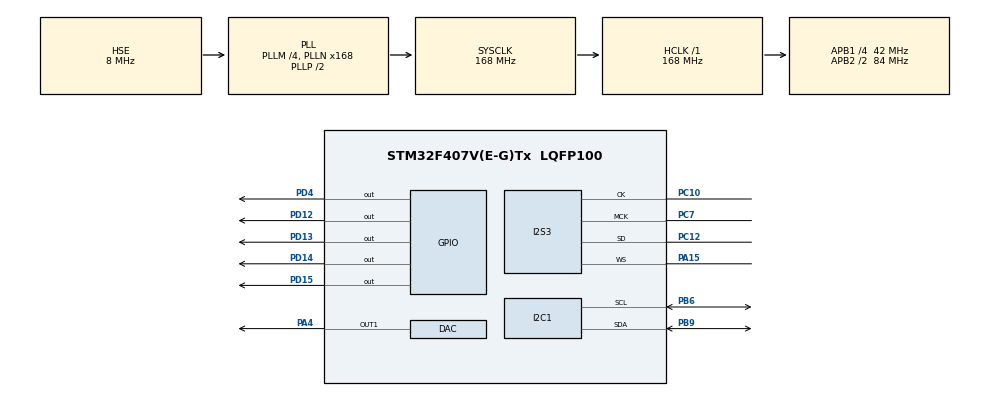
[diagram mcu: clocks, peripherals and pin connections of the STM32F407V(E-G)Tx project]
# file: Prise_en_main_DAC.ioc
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Dma.Request0=SPI3_TX
Dma.SPI3_TX.0.Direction=DMA_MEMORY_TO_PERIPH
Dma.SPI3_TX.0.FIFOMode=DMA_FIFOMODE_ENABLE
Dma.SPI3_TX.0.FIFOThreshold=DMA_FIFO_THRESHOLD_FULL
Dma.SPI3_TX.0.Instance=DMA1_Stream5
Dma.SPI3_TX.0.MemBurst=DMA_MBURST_SINGLE
Dma.SPI3_TX.0.MemDataAlignment=DMA_MDATAALIGN_HALFWORD
Dma.SPI3_TX.0.MemInc=DMA_MINC_ENABLE
Dma.SPI3_TX.0.Mode=DMA_CIRCULAR
Dma.SPI3_TX.0.PeriphBurst=DMA_PBURST_SINGLE
Dma.SPI3_TX.0.PeriphDataAlignment=DMA_PDATAALIGN_HALFWORD
Dma.SPI3_TX.0.PeriphInc=DMA_PINC_DISABLE
Dma.SPI3_TX.0.Priority=DMA_PRIORITY_LOW
I2S3.AudioFreq=I2S_AUDIOFREQ_48K
I2S3.ErrorAudioFreq=1.72 %
I2S3.FullDuplexMode=I2S_FULLDUPLEXMODE_DISABLE
I2S3.Instance=SPI$Index
I2S3.RealAudioFreq=48.828 KHz
I2S3.VirtualMode=I2S_MODE_MASTER
Mcu.Family=STM32F4
Mcu.Name=STM32F407V(E-G)Tx
Mcu.Package=LQFP100
NVIC.DMA1_Stream5_IRQn=true\:0\:0\:false\:false\:true\:false\:true
NVIC.PriorityGroup=NVIC_PRIORITYGROUP_4
NVIC.TIM2_IRQn=true\:0\:0\:false\:false\:true\:true\:true
PA13.Mode=Serial_Wire
PA13.Signal=SYS_JTMS-SWDIO
PA14.Mode=Serial_Wire
PA14.Signal=SYS_JTCK-SWCLK
PA15.Mode=Half_Duplex_Master
PA15.Signal=I2S3_WS
PA4.Signal=COMP_DAC1_group
PB6.Mode=I2C
PB6.Signal=I2C1_SCL
PB9.Mode=I2C
PB9.Signal=I2C1_SDA
PC10.Mode=Half_Duplex_Master
PC10.Signal=I2S3_CK
PC12.Mode=Half_Duplex_Master
PC12.Signal=I2S3_SD
PC7.Mode=Master_Clock_Activated
PC7.Signal=I2S3_MCK
PD12.Signal=GPIO_Output
PD13.Signal=GPIO_Output
PD14.Signal=GPIO_Output
PD15.Signal=GPIO_Output
PD4.Signal=GPIO_Output
PH0-OSC_IN.Mode=HSE-External-Oscillator
PH0-OSC_IN.Signal=RCC_OSC_IN
PH1-OSC_OUT.Mode=HSE-External-Oscillator
PH1-OSC_OUT.Signal=RCC_OSC_OUT
ProjectManager.HeapSize=0x200
ProjectManager.StackSize=0x400
ProjectManager.TargetToolchain=STM32CubeIDE
RCC.48MHZClocksFreq_Value=84000000
RCC.AHBFreq_Value=168000000
RCC.APB1CLKDivider=RCC_HCLK_DIV4
RCC.APB1Freq_Value=42000000
RCC.APB1TimFreq_Value=84000000
RCC.APB2CLKDivider=RCC_HCLK_DIV2
RCC.APB2Freq_Value=84000000
RCC.APB2TimFreq_Value=168000000
RCC.CortexFreq_Value=168000000
RCC.HCLKFreq_Value=168000000
RCC.HSE_VALUE=8000000
RCC.HSI_VALUE=16000000
RCC.LSE_VALUE=32768
RCC.PLLI2SN=50
RCC.PLLM=4
RCC.PLLN=168
RCC.PLLSourceVirtual=RCC_PLLSOURCE_HSE
RCC.SYSCLKFreq_VALUE=168000000
RCC.SYSCLKSource=RCC_SYSCLKSOURCE_PLLCLK
RCC.VCOOutputFreq_Value=336000000
SH.COMP_DAC1_group.0=DAC_OUT1,DAC_OUT1
TIM2.Period=20-1
TIM2.Prescaler=84-1
TIM2.TIM_MasterOutputTrigger=TIM_TRGO_UPDATE
VP_TIM2_VS_ClockSourceINT.Mode=Internal
board=custom

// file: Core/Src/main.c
/* USER CODE BEGIN Header */
/**
 ******************************************************************************
 * @file           : main.c
 * @brief          : Main program body
 ******************************************************************************
 * @attention
 *
 * <h2><center>&copy; Copyright (c) 2020 STMicroelectronics.
 * All rights reserved.</center></h2>
 *
 * This software component is licensed by ST under BSD 3-Clause license,
 * the "License"; You may not use this file except in compliance with the
 * License. You may obtain a copy of the License at:
 *                        opensource.org/licenses/BSD-3-Clause
 *
 ******************************************************************************
 */
/*
 Library:				STM32F4 PX505_FX_Synthe - CS43L22
 Written by:				Tony DOMINGUEZ
 Date Written:			08/11/2020
 Last modified:			08/11/2020
 Description:			This is an STM32 device driver library for the CS43L22 Audio Codec, using STM HAL libraries
 References:
 1) Cirrus Logic CS43L22 datasheet
 https://www.mouser.com/ds/2/76/CS43L22_F2-1142121.pdf
 2) ST opensource CS43L22 Audio Codec dsp drivers.
 3) Sourcing by an internet youtube video
 * Copyright (C) 2020 - T.DOMINGUEZ
 Work in progress
 */
/* USER CODE END Header */
#include "main.h"
#include "My_CS43L22.h"
#include <math.h>

//Synths Functions
#include "Envelope.h"
#include "Oscillator.h"
#include "Operator.h"
#include "Mixer.h"
#include "Note.h"
#include "FM.h"

DAC_HandleTypeDef hdac;

I2C_HandleTypeDef hi2c1;

I2S_HandleTypeDef hi2s3;
DMA_HandleTypeDef hdma_spi3_tx;

TIM_HandleTypeDef htim2;

/* USER CODE BEGIN PV */

#define PI 3.14159f
// Sample rate
#define F_SAMPLE	50000.0f
//Tunig frequency A4 = 440Hz
#define F_TUNING	440.0f
//Output Frequency (for test)
#define F_OUT		440.0f
//Output Gain set such that ears dont bleed
#define G_OUT		50.0f
#define TRANCHES_MAX 1

/* USER CODE END PV */

void SystemClock_Config(void);
static void MX_GPIO_Init(void);
static void MX_DMA_Init(void);
static void MX_DAC_Init(void);
static void MX_I2C1_Init(void);
static void MX_I2S3_Init(void);
static void MX_TIM2_Init(void);

/* USER CODE BEGIN 0 */

uint16_t myDacValue;

uint16_t I2S_dummy[4];

/* GLOBAL INTERRUPTION FLAG */
int Exec_flg;
/* Global Note Value */
int Note_Val;
/* USER CODE END 0 */

int main(void) {
	/* Initialize LEDS */

	/* USER CODE END 1 */

	/* MCU Configuration--------------------------------------------------------*/

	/* Reset of all peripherals, Initializes the Flash interface and the Systick. */
	HAL_Init();

	/* Configure the system clock */
	SystemClock_Config();

	/* Initialize all configured peripherals */
	MX_GPIO_Init();
	MX_DMA_Init();
	MX_DAC_Init();
	MX_I2C1_Init();
	MX_I2S3_Init();
	MX_TIM2_Init();
	/* USER CODE BEGIN 2 */

	/* 			INITIALISATION CS43L22				*/
	// DAC
	CS43_Init(hi2c1, MODE_ANALOG); // configuration des registres du composant CS43L22 	: 	select mode ANALOG
	CS43_SetVolume(G_OUT);// configuration des registres du composant CS43L22 	: 	choose Volume level
	CS43_Enable_RightLeft(CS43_RIGHT_LEFT);	// configuration des registres du composant CS43L22 	: 	choose Audio mode == stereo
	CS43_Start();

	/* 			INITIALISATION I2S STM32				*/

	HAL_I2S_Transmit_DMA(&hi2s3, (uint16_t*) I2S_dummy, 4);

	/* 			INITIALISATION DAC STM32				*/

	HAL_DAC_Start(&hdac, DAC1_CHANNEL_1);// Start DAC	:	Select DAC_CHANNEL_1

	/* 			INITIALISATION TIM2				*/

	HAL_TIM_Base_Start_IT(&htim2);		// Start DAC	:	Select DAC_CHANNEL_1

	/* USER CODE END 2 */

	//Init led temoin
	HAL_GPIO_WritePin(GPIOD, GPIO_PIN_12, 0);		//BP
	HAL_GPIO_WritePin(GPIOD, GPIO_PIN_13, 1);		//Init
	HAL_GPIO_WritePin(GPIOD, GPIO_PIN_14, 1);		//Loop off
	HAL_GPIO_WritePin(GPIOD, GPIO_PIN_15, 0);		//Loop on

	//Rend la phase d'init visible sur les leds
	HAL_Delay(500);

	//Init code Midi Notes to Hz (may take long to exec)
	//
	/*
	 int i;
	 float F;
	 midiNote_t Midi_Tab[127];
	 for (i = 0; i < 128; i++) {
	 F = pow(2, ((i - 69) / 12)) * F_TUNING;
	 Midi_Tab[i].frequency = F / F_SAMPLE;
	 Midi_Tab[i].period = F_SAMPLE / F;
	 }
	 */
	//
	//float sample_dt;
	//uint16_t sample_N;
	float frequency, frequency1, frequency2;
	int BP;

	//Synthesizer variables
	float OutputValue1, OutputValue2, OutputValue3;

	//Init Exec_flg
	Exec_flg = 0;

	//Init  Note_Val
	//Note_Val = 100;
	//Init DAC Value
	myDacValue = 0;

	//sample_dt = F_OUT / F_SAMPLE;
	//sample_N = F_SAMPLE / F_OUT;
	frequency = F_OUT / F_SAMPLE;
	frequency1 = frequency / 10;

	//Parameters and Memory for Operator1
	//Memoire
	OperatorMem_t OP1Mem;
	//Oscillator
	OP1Mem.CompteurOsc = 0;
	OP1Mem.Frequency = frequency1;
	//Envelope
	OP1Mem.CompteurEnv = 0;
	OP1Mem.Phase = OFF;
	OP1Mem.Note = 0;

	//Params
	OperatorParam_t OP1Param;
	//Oscillator
	OP1Param.WaveType = SINE;
	OP1Param.Alpha = 1;
	//Enveloppe
	OP1Param.Attack = 10000;
	OP1Param.Decay = 500;
	OP1Param.Sustain = 0.5;
	OP1Param.Release = 20000;

	//Parameters and Memory for Operator2
	//Memoire
	OperatorMem_t OP2Mem;
	//Oscillator
	OP2Mem.CompteurOsc = 0;
	OP2Mem.Frequency = frequency1;
	//Envelope
	OP2Mem.CompteurEnv = 0;
	OP2Mem.Phase = OFF;
	OP2Mem.Note = 0;

	//Params
	OperatorParam_t OP2Param;
	//Oscillator
	OP2Param.WaveType = SINE;
	OP2Param.Alpha = 0.9;
	//Enveloppe
	OP2Param.Attack = 100;
	OP2Param.Decay = 50;
	OP2Param.Sustain = 0.1;
	OP2Param.Release = 200;

	//Tranche Structures
	Tranche_t Tranches[TRANCHES_MAX];
	Tranches[0].Gain = 0.9;

	//Init end led toggle
	HAL_GPIO_WritePin(GPIOD, GPIO_PIN_13, 0);

	while (1) {
		HAL_GPIO_WritePin(GPIOD, GPIO_PIN_14, 0);	//Loop
		HAL_GPIO_WritePin(GPIOD, GPIO_PIN_15, 1);	//Loop

		//HAL_GPIO_TogglePin(GPIOD, GPIO_PIN_12|GPIO_PIN_13|GPIO_PIN_14|GPIO_PIN_15);
		/* USER CODE END WHILE */

		/* USER CODE BEGIN 3 */
		/*
		 HAL_GPIO_TogglePin(GPIOD, GPIO_PIN_12|GPIO_PIN_13|GPIO_PIN_14|GPIO_PIN_15);
		 HAL_Delay(1000);
		 */
		// Read button push state
		BP = HAL_GPIO_ReadPin(GPIOA, GPIO_PIN_0);
		HAL_GPIO_WritePin(GPIOD, GPIO_PIN_12, BP);

		if (Exec_flg == 1) {
			//RaZ Exec_flg
			Exec_flg = 0;

			//		2 Operator Code		//
			//Code a exec
			//frequency = Midi_Tab[Note_Val].frequency;

			/*
			OutputValue1 = Operator(BP, frequency1, OP1Param, &OP1Mem);

			frequency2 = FM(OutputValue1, frequency, 1);

			OutputValue2 = Operator(BP, frequency2, OP2Param, &OP2Mem);

			Tranches[0].Value = OutputValue2;

			OutputValue3 = Mixer(Tranches, TRANCHES_MAX);

			*/
			//		1 Operator Sine Code 	//

			//Parameters and Memory for Operator1
			//Params
			OperatorParam_t OP1Param;
			//Oscillator
			OP1Param.WaveType = SQUARE;
			OP1Param.Alpha = 0.5;
			//Enveloppe
			OP1Param.Attack = 10;
			OP1Param.Decay = 10;
			OP1Param.Sustain = 1;
			OP1Param.Release = 10;
			OutputValue3 = Operator(BP, frequency, OP1Param, &OP1Mem);

			// conversion float to decimal pour le DAC (prise en compte next interruption)
			//1/50000 Hz de retard de phase (négligeable)
			myDacValue = (OutputValue3 + 1) * 127;
		}

	}
	/* USER CODE END 3 */
}

void SystemClock_Config(void) {
	RCC_OscInitTypeDef RCC_OscInitStruct = { 0 };
	RCC_ClkInitTypeDef RCC_ClkInitStruct = { 0 };
	RCC_PeriphCLKInitTypeDef PeriphClkInitStruct = { 0 };

	/** Configure the main internal regulator output voltage
	 */
	__HAL_RCC_PWR_CLK_ENABLE();
	__HAL_PWR_VOLTAGESCALING_CONFIG(PWR_REGULATOR_VOLTAGE_SCALE1);
	/** Initializes the RCC Oscillators according to the specified parameters
	 * in the RCC_OscInitTypeDef structure.
	 */
	RCC_OscInitStruct.OscillatorType = RCC_OSCILLATORTYPE_HSE;
	RCC_OscInitStruct.HSEState = RCC_HSE_ON;
	RCC_OscInitStruct.PLL.PLLState = RCC_PLL_ON;
	RCC_OscInitStruct.PLL.PLLSource = RCC_PLLSOURCE_HSE;
	RCC_OscInitStruct.PLL.PLLM = 4;
	RCC_OscInitStruct.PLL.PLLN = 168;
	RCC_OscInitStruct.PLL.PLLP = RCC_PLLP_DIV2;
	RCC_OscInitStruct.PLL.PLLQ = 4;
	if (HAL_RCC_OscConfig(&RCC_OscInitStruct) != HAL_OK) {
		Error_Handler();
	}
	/** Initializes the CPU, AHB and APB buses clocks
	 */
	RCC_ClkInitStruct.ClockType = RCC_CLOCKTYPE_HCLK | RCC_CLOCKTYPE_SYSCLK
			| RCC_CLOCKTYPE_PCLK1 | RCC_CLOCKTYPE_PCLK2;
	RCC_ClkInitStruct.SYSCLKSource = RCC_SYSCLKSOURCE_PLLCLK;
	RCC_ClkInitStruct.AHBCLKDivider = RCC_SYSCLK_DIV1;
	RCC_ClkInitStruct.APB1CLKDivider = RCC_HCLK_DIV4;
	RCC_ClkInitStruct.APB2CLKDivider = RCC_HCLK_DIV2;

	if (HAL_RCC_ClockConfig(&RCC_ClkInitStruct, FLASH_LATENCY_5) != HAL_OK) {
		Error_Handler();
	}
	PeriphClkInitStruct.PeriphClockSelection = RCC_PERIPHCLK_I2S;
	PeriphClkInitStruct.PLLI2S.PLLI2SN = 50;
	PeriphClkInitStruct.PLLI2S.PLLI2SR = 2;
	if (HAL_RCCEx_PeriphCLKConfig(&PeriphClkInitStruct) != HAL_OK) {
		Error_Handler();
	}
}

static void MX_DAC_Init(void) {

	DAC_ChannelConfTypeDef sConfig = { 0 };

	/** DAC Initialization
	 */
	hdac.Instance = DAC;
	if (HAL_DAC_Init(&hdac) != HAL_OK) {
		Error_Handler();
	}
	/** DAC channel OUT1 config
	 */
	sConfig.DAC_Trigger = DAC_TRIGGER_NONE;
	sConfig.DAC_OutputBuffer = DAC_OUTPUTBUFFER_ENABLE;
	if (HAL_DAC_ConfigChannel(&hdac, &sConfig, DAC_CHANNEL_1) != HAL_OK) {
		Error_Handler();
	}

}

static void MX_I2C1_Init(void) {

	hi2c1.Instance = I2C1;
	hi2c1.Init.ClockSpeed = 100000;
	hi2c1.Init.DutyCycle = I2C_DUTYCYCLE_2;
	hi2c1.Init.OwnAddress1 = 0;
	hi2c1.Init.AddressingMode = I2C_ADDRESSINGMODE_7BIT;
	hi2c1.Init.DualAddressMode = I2C_DUALADDRESS_DISABLE;
	hi2c1.Init.OwnAddress2 = 0;
	hi2c1.Init.GeneralCallMode = I2C_GENERALCALL_DISABLE;
	hi2c1.Init.NoStretchMode = I2C_NOSTRETCH_DISABLE;
	if (HAL_I2C_Init(&hi2c1) != HAL_OK) {
		Error_Handler();
	}

}

static void MX_I2S3_Init(void) {

	hi2s3.Instance = SPI3;
	hi2s3.Init.Mode = I2S_MODE_MASTER_TX;
	hi2s3.Init.Standard = I2S_STANDARD_PHILIPS;
	hi2s3.Init.DataFormat = I2S_DATAFORMAT_16B;
	hi2s3.Init.MCLKOutput = I2S_MCLKOUTPUT_ENABLE;
	hi2s3.Init.AudioFreq = I2S_AUDIOFREQ_48K;
	hi2s3.Init.CPOL = I2S_CPOL_LOW;
	hi2s3.Init.ClockSource = I2S_CLOCK_PLL;
	hi2s3.Init.FullDuplexMode = I2S_FULLDUPLEXMODE_DISABLE;
	if (HAL_I2S_Init(&hi2s3) != HAL_OK) {
		Error_Handler();
	}

}

static void MX_TIM2_Init(void) {

	TIM_ClockConfigTypeDef sClockSourceConfig = { 0 };
	TIM_MasterConfigTypeDef sMasterConfig = { 0 };

	htim2.Instance = TIM2;
	htim2.Init.Prescaler = 84 - 1;
	htim2.Init.CounterMode = TIM_COUNTERMODE_UP;
	htim2.Init.Period = 20 - 1;
	htim2.Init.ClockDivision = TIM_CLOCKDIVISION_DIV1;
	htim2.Init.AutoReloadPreload = TIM_AUTORELOAD_PRELOAD_DISABLE;
	if (HAL_TIM_Base_Init(&htim2) != HAL_OK) {
		Error_Handler();
	}
	sClockSourceConfig.ClockSource = TIM_CLOCKSOURCE_INTERNAL;
	if (HAL_TIM_ConfigClockSource(&htim2, &sClockSourceConfig) != HAL_OK) {
		Error_Handler();
	}
	sMasterConfig.MasterOutputTrigger = TIM_TRGO_UPDATE;
	sMasterConfig.MasterSlaveMode = TIM_MASTERSLAVEMODE_DISABLE;
	if (HAL_TIMEx_MasterConfigSynchronization(&htim2, &sMasterConfig)
			!= HAL_OK) {
		Error_Handler();
	}

}

static void MX_DMA_Init(void) {

	/* DMA controller clock enable */
	__HAL_RCC_DMA1_CLK_ENABLE();

	/* DMA interrupt init */
	/* DMA1_Stream5_IRQn interrupt configuration */
	HAL_NVIC_SetPriority(DMA1_Stream5_IRQn, 0, 0);
	HAL_NVIC_EnableIRQ(DMA1_Stream5_IRQn);

}

static void MX_GPIO_Init(void) {
	GPIO_InitTypeDef GPIO_InitStruct = { 0 };

	/* GPIO Ports Clock Enable */
	__HAL_RCC_GPIOH_CLK_ENABLE();
	__HAL_RCC_GPIOA_CLK_ENABLE();
	__HAL_RCC_GPIOD_CLK_ENABLE();
	__HAL_RCC_GPIOC_CLK_ENABLE();
	__HAL_RCC_GPIOB_CLK_ENABLE();

	/*Configure GPIO pin Output Level */
	HAL_GPIO_WritePin(GPIOD,
	GPIO_PIN_12 | GPIO_PIN_13 | GPIO_PIN_14 | GPIO_PIN_15 | GPIO_PIN_4,
			GPIO_PIN_RESET);

	/*Configure GPIO pins : PD12 PD13 PD14 PD15
	 PD4 */
	GPIO_InitStruct.Pin = GPIO_PIN_12 | GPIO_PIN_13 | GPIO_PIN_14 | GPIO_PIN_15
			| GPIO_PIN_4;
	GPIO_InitStruct.Mode = GPIO_MODE_OUTPUT_PP;
	GPIO_InitStruct.Pull = GPIO_NOPULL;
	GPIO_InitStruct.Speed = GPIO_SPEED_FREQ_LOW;
	HAL_GPIO_Init(GPIOD, &GPIO_InitStruct);

}

/* USER CODE BEGIN 4 */
void HAL_TIM_PeriodElapsedCallback(TIM_HandleTypeDef *htim) {

	UNUSED(htim);

	// build sine function for the audio sound
	if (htim->Instance == TIM2) {

		//Output the sample to the SIMDAC
		HAL_DAC_SetValue(&hdac, DAC_CHANNEL_1, DAC_ALIGN_8B_R, myDacValue);

		//Mise a 1 Exec_flg
		Exec_flg = 1;
	}
}

/* USER CODE END 4 */

void Error_Handler(void) {
}

/************************ (C) COPYRIGHT STMicroelectronics *****END OF FILE****/
